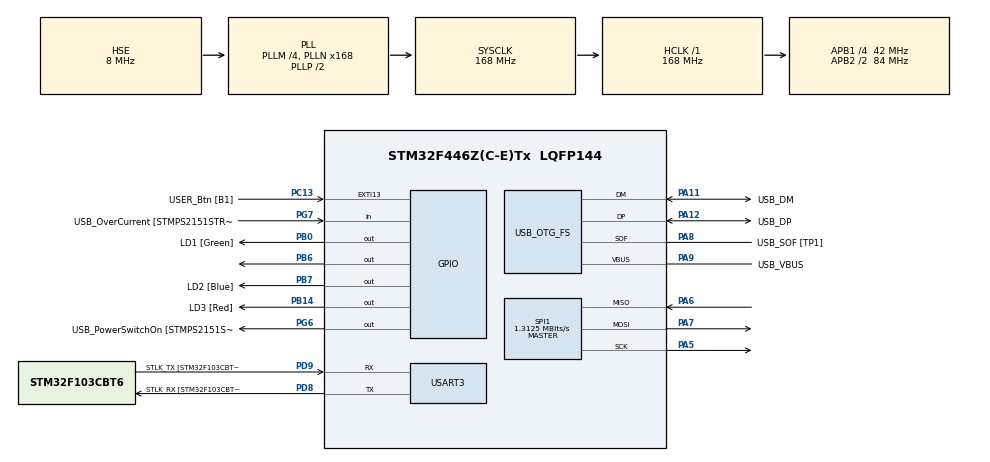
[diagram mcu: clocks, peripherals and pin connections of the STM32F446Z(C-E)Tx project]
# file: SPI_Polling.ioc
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Mcu.Family=STM32F4
Mcu.Name=STM32F446Z(C-E)Tx
Mcu.Package=LQFP144
NVIC.PriorityGroup=NVIC_PRIORITYGROUP_4
PA10.GPIO_Label=USB_ID
PA10.Signal=USB_OTG_FS_ID
PA11.GPIO_Label=USB_DM
PA11.Mode=Device_Only
PA11.Signal=USB_OTG_FS_DM
PA12.GPIO_Label=USB_DP
PA12.Mode=Device_Only
PA12.Signal=USB_OTG_FS_DP
PA13.GPIO_Label=TMS
PA13.Mode=Serial_Wire
PA13.Signal=SYS_JTMS-SWDIO
PA14.GPIO_Label=TCK
PA14.Mode=Serial_Wire
PA14.Signal=SYS_JTCK-SWCLK
PA5.Mode=Full_Duplex_Master
PA5.Signal=SPI1_SCK
PA6.Mode=Full_Duplex_Master
PA6.Signal=SPI1_MISO
PA7.Mode=Full_Duplex_Master
PA7.Signal=SPI1_MOSI
PA8.GPIO_Label=USB_SOF [TP1]
PA8.Mode=Activate_SOF_FS
PA8.Signal=USB_OTG_FS_SOF
PA9.GPIO_Label=USB_VBUS
PA9.Mode=Activate_VBUS
PA9.Signal=USB_OTG_FS_VBUS
PB0.GPIO_Label=LD1 [Green]
PB0.Signal=GPIO_Output
PB14.GPIO_Label=LD3 [Red]
PB14.Signal=GPIO_Output
PB6.Signal=GPIO_Output
PB7.GPIO_Label=LD2 [Blue]
PB7.Signal=GPIO_Output
PC13.GPIO_Label=USER_Btn [B1]
PC13.Signal=GPXTI13
PC14-OSC32_IN.Mode=LSE-External-Oscillator
PC14-OSC32_IN.Signal=RCC_OSC32_IN
PC15-OSC32_OUT.Mode=LSE-External-Oscillator
PC15-OSC32_OUT.Signal=RCC_OSC32_OUT
PD8.GPIO_Label=STLK_RX [STM32F103CBT6_PA3]
PD8.Mode=Asynchronous
PD8.Signal=USART3_TX
PD9.GPIO_Label=STLK_TX [STM32F103CBT6_PA2]
PD9.Mode=Asynchronous
PD9.Signal=USART3_RX
PG6.GPIO_Label=USB_PowerSwitchOn [STMPS2151STR_EN]
PG6.Signal=GPIO_Output
PG7.GPIO_Label=USB_OverCurrent [STMPS2151STR_FAULT]
PG7.Signal=GPIO_Input
PH0-OSC_IN.GPIO_Label=MCO [STM32F103CBT6_PA8]
PH0-OSC_IN.Mode=HSE-External-Clock-Source
PH0-OSC_IN.Signal=RCC_OSC_IN
PH1-OSC_OUT.Mode=HSE-External-Clock-Source
PH1-OSC_OUT.Signal=RCC_OSC_OUT
ProjectManager.HeapSize=0x200
ProjectManager.StackSize=0x400
ProjectManager.TargetToolchain=STM32CubeIDE
RCC.48MHZClocksFreq_Value=24000000
RCC.AHBFreq_Value=168000000
RCC.APB1CLKDivider=RCC_HCLK_DIV4
RCC.APB1Freq_Value=42000000
RCC.APB1TimFreq_Value=84000000
RCC.APB2CLKDivider=RCC_HCLK_DIV2
RCC.APB2Freq_Value=84000000
RCC.APB2TimFreq_Value=168000000
RCC.CortexFreq_Value=168000000
RCC.HCLKFreq_Value=168000000
RCC.HSE_VALUE=8000000
RCC.HSI_VALUE=16000000
RCC.PLLM=4
RCC.PLLMUL=RCC_PLL_MUL9
RCC.PLLN=168
RCC.PLLQ=7
RCC.PRESCALERUSB=RCC_USBCLKSOURCE_PLL_DIV1_5
RCC.SYSCLKFreq_VALUE=168000000
RCC.SYSCLKSource=RCC_SYSCLKSOURCE_PLLCLK
RCC.SYSCLKSourceVirtual=RCC_SYSCLKSOURCE_PLLCLK
RCC.USBFreq_Value=48000000
RCC.VCOOutputFreq_Value=336000000
SPI1.BaudRatePrescaler=SPI_BAUDRATEPRESCALER_64
SPI1.CalculateBaudRate=1.3125 MBits/s
SPI1.DataSize=SPI_DATASIZE_16BIT
SPI1.Direction=SPI_DIRECTION_2LINES
SPI1.Mode=SPI_MODE_MASTER
SPI1.VirtualType=VM_MASTER
USART3.VirtualMode=VM_ASYNC
USB_OTG_FS.VirtualMode=Device_Only
board=NUCLEO-F446ZE

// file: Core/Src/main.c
/* USER CODE BEGIN Header */
/**
  ******************************************************************************
  * @file           : main.c
  * @brief          : Main program body
  ******************************************************************************
  * @attention
  *
  * Copyright (c) 2025 STMicroelectronics.
  * All rights reserved.
  *
  * This software is licensed under terms that can be found in the LICENSE file
  * in the root directory of this software component.
  * If no LICENSE file comes with this software, it is provided AS-IS.
  *
  ******************************************************************************
  */
/* USER CODE END Header */
#include "main.h"

/* USER CODE BEGIN Includes */
#include<stdio.h>
#include<string.h>
/* USER CODE END Includes */

SPI_HandleTypeDef hspi1;

UART_HandleTypeDef huart3;

PCD_HandleTypeDef hpcd_USB_OTG_FS;

/* USER CODE BEGIN PV */
char buff[100];
uint16_t spi_data=0;
/* USER CODE END PV */

void SystemClock_Config(void);
static void MX_GPIO_Init(void);
static void MX_USART3_UART_Init(void);
static void MX_USB_OTG_FS_PCD_Init(void);
static void MX_SPI1_Init(void);

int main(void)
{

  /* MCU Configuration--------------------------------------------------------*/

  /* Reset of all peripherals, Initializes the Flash interface and the Systick. */
  HAL_Init();

  /* Configure the system clock */
  SystemClock_Config();

  /* Initialize all configured peripherals */
  MX_GPIO_Init();
  MX_USART3_UART_Init();
  MX_USB_OTG_FS_PCD_Init();
  MX_SPI1_Init();
  /* USER CODE BEGIN 2 */
  HAL_GPIO_WritePin(GPIOB, GPIO_PIN_6, SET);
  /* USER CODE END 2 */

  /* Infinite loop */
  /* USER CODE BEGIN WHILE */
  while (1)
  {
	  HAL_GPIO_WritePin(GPIOB, GPIO_PIN_6, RESET);
	  HAL_SPI_Receive(&hspi1,(uint8_t*)&spi_data, 1, 100);
	  HAL_GPIO_WritePin(GPIOB, GPIO_PIN_6, SET);

	  if(spi_data & 0x4)
	  {
		  snprintf(buff,sizeof(buff),"ERROR: Sensor not Found");
		 HAL_UART_Transmit(&huart3, (uint8_t*)buff, strlen(buff), 100);
	  }
	  else
	  {
		  int16_t data = (spi_data>>3 & 0x0fff);
		  float temp = data*0.25;
		  snprintf(buff,sizeof(buff),"Temperature Value = %.2f\r\n ",temp);
		  HAL_UART_Transmit(&huart3, (uint8_t*)buff, strlen(buff), 100);
	  }

    /* USER CODE END WHILE */

  }
}

void SystemClock_Config(void)
{
  RCC_OscInitTypeDef RCC_OscInitStruct = {0};
  RCC_ClkInitTypeDef RCC_ClkInitStruct = {0};

  /** Configure the main internal regulator output voltage
  */
  __HAL_RCC_PWR_CLK_ENABLE();
  __HAL_PWR_VOLTAGESCALING_CONFIG(PWR_REGULATOR_VOLTAGE_SCALE1);

  /** Initializes the RCC Oscillators according to the specified parameters
  * in the RCC_OscInitTypeDef structure.
  */
  RCC_OscInitStruct.OscillatorType = RCC_OSCILLATORTYPE_HSE;
  RCC_OscInitStruct.HSEState = RCC_HSE_BYPASS;
  RCC_OscInitStruct.PLL.PLLState = RCC_PLL_ON;
  RCC_OscInitStruct.PLL.PLLSource = RCC_PLLSOURCE_HSE;
  RCC_OscInitStruct.PLL.PLLM = 4;
  RCC_OscInitStruct.PLL.PLLN = 168;
  RCC_OscInitStruct.PLL.PLLP = RCC_PLLP_DIV2;
  RCC_OscInitStruct.PLL.PLLQ = 7;
  RCC_OscInitStruct.PLL.PLLR = 2;
  if (HAL_RCC_OscConfig(&RCC_OscInitStruct) != HAL_OK)
  {
    Error_Handler();
  }

  /** Initializes the CPU, AHB and APB buses clocks
  */
  RCC_ClkInitStruct.ClockType = RCC_CLOCKTYPE_HCLK|RCC_CLOCKTYPE_SYSCLK
                              |RCC_CLOCKTYPE_PCLK1|RCC_CLOCKTYPE_PCLK2;
  RCC_ClkInitStruct.SYSCLKSource = RCC_SYSCLKSOURCE_PLLCLK;
  RCC_ClkInitStruct.AHBCLKDivider = RCC_SYSCLK_DIV1;
  RCC_ClkInitStruct.APB1CLKDivider = RCC_HCLK_DIV4;
  RCC_ClkInitStruct.APB2CLKDivider = RCC_HCLK_DIV2;

  if (HAL_RCC_ClockConfig(&RCC_ClkInitStruct, FLASH_LATENCY_5) != HAL_OK)
  {
    Error_Handler();
  }
}

static void MX_SPI1_Init(void)
{

  /* SPI1 parameter configuration*/
  hspi1.Instance = SPI1;
  hspi1.Init.Mode = SPI_MODE_MASTER;
  hspi1.Init.Direction = SPI_DIRECTION_2LINES;
  hspi1.Init.DataSize = SPI_DATASIZE_16BIT;
  hspi1.Init.CLKPolarity = SPI_POLARITY_LOW;
  hspi1.Init.CLKPhase = SPI_PHASE_1EDGE;
  hspi1.Init.NSS = SPI_NSS_SOFT;
  hspi1.Init.BaudRatePrescaler = SPI_BAUDRATEPRESCALER_64;
  hspi1.Init.FirstBit = SPI_FIRSTBIT_MSB;
  hspi1.Init.TIMode = SPI_TIMODE_DISABLE;
  hspi1.Init.CRCCalculation = SPI_CRCCALCULATION_DISABLE;
  hspi1.Init.CRCPolynomial = 10;
  if (HAL_SPI_Init(&hspi1) != HAL_OK)
  {
    Error_Handler();
  }

}

static void MX_USART3_UART_Init(void)
{

  huart3.Instance = USART3;
  huart3.Init.BaudRate = 115200;
  huart3.Init.WordLength = UART_WORDLENGTH_8B;
  huart3.Init.StopBits = UART_STOPBITS_1;
  huart3.Init.Parity = UART_PARITY_NONE;
  huart3.Init.Mode = UART_MODE_TX_RX;
  huart3.Init.HwFlowCtl = UART_HWCONTROL_NONE;
  huart3.Init.OverSampling = UART_OVERSAMPLING_16;
  if (HAL_UART_Init(&huart3) != HAL_OK)
  {
    Error_Handler();
  }

}

static void MX_USB_OTG_FS_PCD_Init(void)
{

  hpcd_USB_OTG_FS.Instance = USB_OTG_FS;
  hpcd_USB_OTG_FS.Init.dev_endpoints = 6;
  hpcd_USB_OTG_FS.Init.speed = PCD_SPEED_FULL;
  hpcd_USB_OTG_FS.Init.dma_enable = DISABLE;
  hpcd_USB_OTG_FS.Init.phy_itface = PCD_PHY_EMBEDDED;
  hpcd_USB_OTG_FS.Init.Sof_enable = ENABLE;
  hpcd_USB_OTG_FS.Init.low_power_enable = DISABLE;
  hpcd_USB_OTG_FS.Init.lpm_enable = DISABLE;
  hpcd_USB_OTG_FS.Init.vbus_sensing_enable = ENABLE;
  hpcd_USB_OTG_FS.Init.use_dedicated_ep1 = DISABLE;
  if (HAL_PCD_Init(&hpcd_USB_OTG_FS) != HAL_OK)
  {
    Error_Handler();
  }

}

static void MX_GPIO_Init(void)
{
  GPIO_InitTypeDef GPIO_InitStruct = {0};

  /* GPIO Ports Clock Enable */
  __HAL_RCC_GPIOC_CLK_ENABLE();
  __HAL_RCC_GPIOH_CLK_ENABLE();
  __HAL_RCC_GPIOA_CLK_ENABLE();
  __HAL_RCC_GPIOB_CLK_ENABLE();
  __HAL_RCC_GPIOD_CLK_ENABLE();
  __HAL_RCC_GPIOG_CLK_ENABLE();

  /*Configure GPIO pin Output Level */
  HAL_GPIO_WritePin(GPIOB, LD1_Pin|LD3_Pin|GPIO_PIN_6|LD2_Pin, GPIO_PIN_RESET);

  /*Configure GPIO pin Output Level */
  HAL_GPIO_WritePin(USB_PowerSwitchOn_GPIO_Port, USB_PowerSwitchOn_Pin, GPIO_PIN_RESET);

  /*Configure GPIO pin : USER_Btn_Pin */
  GPIO_InitStruct.Pin = USER_Btn_Pin;
  GPIO_InitStruct.Mode = GPIO_MODE_IT_RISING;
  GPIO_InitStruct.Pull = GPIO_NOPULL;
  HAL_GPIO_Init(USER_Btn_GPIO_Port, &GPIO_InitStruct);

  /*Configure GPIO pins : LD1_Pin LD3_Pin PB6 LD2_Pin */
  GPIO_InitStruct.Pin = LD1_Pin|LD3_Pin|GPIO_PIN_6|LD2_Pin;
  GPIO_InitStruct.Mode = GPIO_MODE_OUTPUT_PP;
  GPIO_InitStruct.Pull = GPIO_NOPULL;
  GPIO_InitStruct.Speed = GPIO_SPEED_FREQ_LOW;
  HAL_GPIO_Init(GPIOB, &GPIO_InitStruct);

  /*Configure GPIO pin : USB_PowerSwitchOn_Pin */
  GPIO_InitStruct.Pin = USB_PowerSwitchOn_Pin;
  GPIO_InitStruct.Mode = GPIO_MODE_OUTPUT_PP;
  GPIO_InitStruct.Pull = GPIO_NOPULL;
  GPIO_InitStruct.Speed = GPIO_SPEED_FREQ_LOW;
  HAL_GPIO_Init(USB_PowerSwitchOn_GPIO_Port, &GPIO_InitStruct);

  /*Configure GPIO pin : USB_OverCurrent_Pin */
  GPIO_InitStruct.Pin = USB_OverCurrent_Pin;
  GPIO_InitStruct.Mode = GPIO_MODE_INPUT;
  GPIO_InitStruct.Pull = GPIO_NOPULL;
  HAL_GPIO_Init(USB_OverCurrent_GPIO_Port, &GPIO_InitStruct);

}

void Error_Handler(void)
{
  __disable_irq();
  while (1)
  {
  }
}
